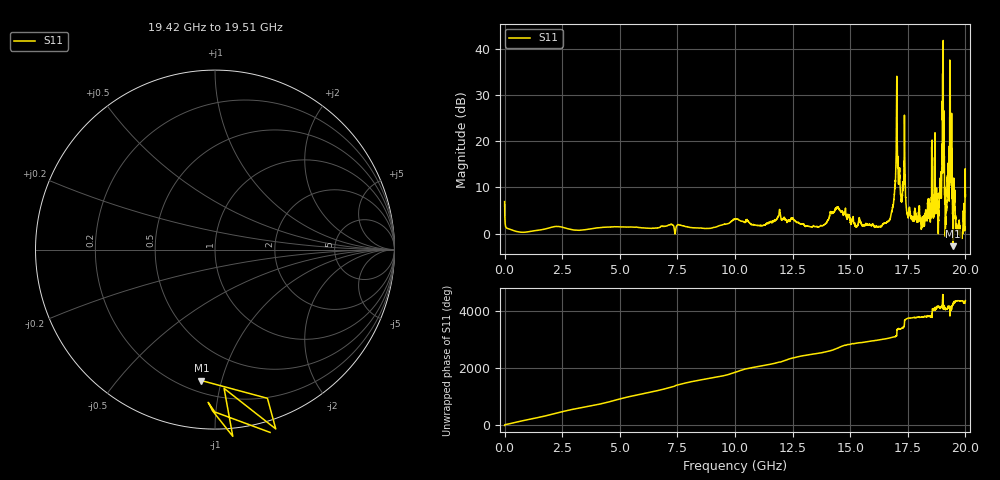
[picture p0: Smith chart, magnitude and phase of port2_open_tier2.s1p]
! Created with skrf 1.8.0 (http://scikit-rf.org).
# GHz S RI R 50.0
!freq ReS11 ImS11
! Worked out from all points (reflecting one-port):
!   10001 points, 1 MHz to 20 GHz, reference 50 ohm
!   lowest |S11| = -2.7 dB at 19.47 GHz (marker M1), VSWR 6.51, Z = 13.7 - j43.2 ohm
!   phase of S11 starts at -16 deg and turns +4374 deg over the sweep
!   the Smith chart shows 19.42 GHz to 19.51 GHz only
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0.001  2.141 -0.5972
0.8769562  -1.006 0.2576
2.500875  -0.3386 1.127
4.090795  1.155 0.1155
5.00075  -1.158 -0.2604
7.500625  0.96 -0.7855
8.80056  -1.139 -0.0195
10.0005  1.045 0.9841
10.54847  -1.382 0.0308
11.86441  1.276 0.8632
12.50038  -1.444 -0.152
14.19629  -0.1273 1.672
14.48028  -1.931 -0.1032
15.00025  0.8222 -1.065
16.46018  -0.8432 0.9778
16.85216  -1.96 -0.5156
16.92215  -2.395 -1.505
17.12414  -3.255 3.391
17.25414  -2.238 0.6435
17.50013  -1.161 1.043
18.46208  -2.013 -0.4663
18.63807  0.133 1.905
18.91005  -2.007 2.457
18.99405  -4.652 -7.793
19.14204  -0.0284 1.422
19.33803  -3.955 -7.554
19.46603  -0.0754 -0.7297
20  2.081 1.634
